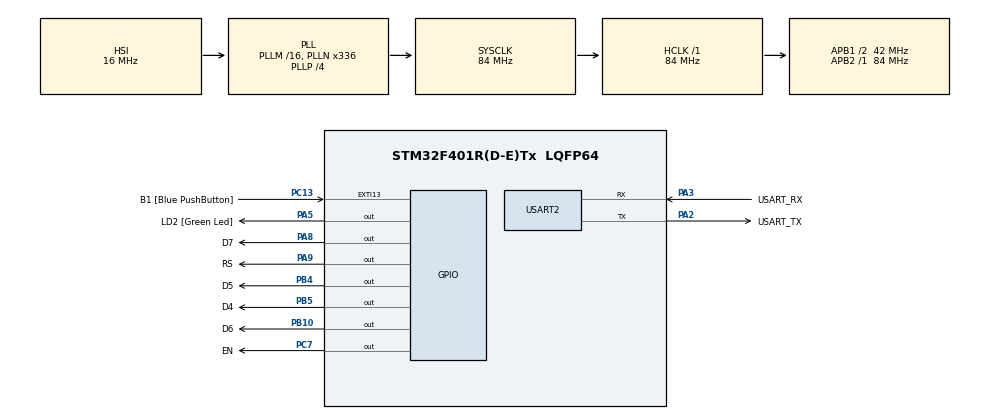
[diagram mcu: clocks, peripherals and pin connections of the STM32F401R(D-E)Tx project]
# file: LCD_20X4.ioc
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Mcu.Family=STM32F4
Mcu.Name=STM32F401R(D-E)Tx
Mcu.Package=LQFP64
NVIC.PriorityGroup=NVIC_PRIORITYGROUP_0
PA13.GPIO_Label=TMS
PA13.Mode=Serial_Wire
PA13.Signal=SYS_JTMS-SWDIO
PA14.GPIO_Label=TCK
PA14.Mode=Serial_Wire
PA14.Signal=SYS_JTCK-SWCLK
PA2.GPIO_Label=USART_TX
PA2.GPIO_Mode=GPIO_MODE_AF_PP
PA2.GPIO_PuPd=GPIO_NOPULL
PA2.GPIO_Speed=GPIO_SPEED_FREQ_LOW
PA2.Mode=Asynchronous
PA2.Signal=USART2_TX
PA3.GPIO_Label=USART_RX
PA3.GPIO_Mode=GPIO_MODE_AF_PP
PA3.GPIO_PuPd=GPIO_NOPULL
PA3.GPIO_Speed=GPIO_SPEED_FREQ_LOW
PA3.Mode=Asynchronous
PA3.Signal=USART2_RX
PA5.GPIO_Label=LD2 [Green Led]
PA5.GPIO_Mode=GPIO_MODE_OUTPUT_PP
PA5.GPIO_PuPd=GPIO_NOPULL
PA5.GPIO_Speed=GPIO_SPEED_FREQ_LOW
PA5.Signal=GPIO_Output
PA8.GPIO_Label=D7
PA8.Signal=GPIO_Output
PA9.GPIO_Label=RS
PA9.Signal=GPIO_Output
PB10.GPIO_Label=D6
PB10.Signal=GPIO_Output
PB3.GPIO_Label=SWO
PB3.Signal=SYS_JTDO-SWO
PB4.GPIO_Label=D5
PB4.Signal=GPIO_Output
PB5.GPIO_Label=D4
PB5.Signal=GPIO_Output
PC13-ANTI_TAMP.GPIO_Label=B1 [Blue PushButton]
PC13-ANTI_TAMP.GPIO_ModeDefaultEXTI=GPIO_MODE_IT_FALLING
PC13-ANTI_TAMP.GPIO_PuPd=GPIO_NOPULL
PC13-ANTI_TAMP.Signal=GPXTI13
PC14-OSC32_IN.Mode=LSE-External-Oscillator
PC14-OSC32_IN.Signal=RCC_OSC32_IN
PC15-OSC32_OUT.Mode=LSE-External-Oscillator
PC15-OSC32_OUT.Signal=RCC_OSC32_OUT
PC7.GPIO_Label=EN
PC7.Signal=GPIO_Output
PH0\ -\ OSC_IN.Mode=HSE-External-Clock-Source
PH0\ -\ OSC_IN.Signal=RCC_OSC_IN
PH1\ -\ OSC_OUT.Mode=HSE-External-Clock-Source
PH1\ -\ OSC_OUT.Signal=RCC_OSC_OUT
ProjectManager.HeapSize=0x200
ProjectManager.StackSize=0x400
ProjectManager.TargetToolchain=SW4STM32
RCC.48MHZClocksFreq_Value=48000000
RCC.AHBFreq_Value=84000000
RCC.APB1CLKDivider=RCC_HCLK_DIV2
RCC.APB1Freq_Value=42000000
RCC.APB1TimFreq_Value=84000000
RCC.APB2Freq_Value=84000000
RCC.APB2TimFreq_Value=84000000
RCC.CortexFreq_Value=84000000
RCC.HCLKFreq_Value=84000000
RCC.HSE_VALUE=8000000
RCC.HSI_VALUE=16000000
RCC.PLLN=336
RCC.PLLP=RCC_PLLP_DIV4
RCC.PLLQ=7
RCC.SYSCLKFreq_VALUE=84000000
RCC.SYSCLKSource=RCC_SYSCLKSOURCE_PLLCLK
RCC.VCOOutputFreq_Value=336000000
USART2.VirtualMode=VM_ASYNC
board=NUCLEO-F401RE

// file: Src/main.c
/* USER CODE BEGIN Header */
/**
  ******************************************************************************
  * @file           : main.c
  * @brief          : Main program body
  ******************************************************************************
  * @attention
  *
  * <h2><center>&copy; Copyright (c) 2020 STMicroelectronics.
  * All rights reserved.</center></h2>
  *
  * This software component is licensed by ST under BSD 3-Clause license,
  * the "License"; You may not use this file except in compliance with the
  * License. You may obtain a copy of the License at:
  *                        opensource.org/licenses/BSD-3-Clause
  *
  ******************************************************************************
  */
/* USER CODE END Header */
#include "main.h"
#include "lcd.h"
#include <math.h>

UART_HandleTypeDef huart2;

void SystemClock_Config(void);
static void MX_GPIO_Init(void);
static void MX_USART2_UART_Init(void);

int main(void)
{

  /* MCU Configuration--------------------------------------------------------*/

  /* Reset of all peripherals, Initializes the Flash interface and the Systick. */
  HAL_Init();

  /* Configure the system clock */
  SystemClock_Config();

  /* Initialize all configured peripherals */
  MX_GPIO_Init();
  MX_USART2_UART_Init();
  /* USER CODE BEGIN 2 */

  // Initialization

  GPIO_Port ports[] = {D4_GPIO_Port, D5_GPIO_Port, D6_GPIO_Port, D7_GPIO_Port};
  GPIO_Pin pins[] = {D4_Pin, D5_Pin, D6_Pin, D7_Pin};

  DisplayLCD lcd = lcd_generate(ports, pins, RS_GPIO_Port, RS_Pin, EN_GPIO_Port, EN_Pin);

  lcd_init(&lcd);

  // Writing a string

  lcd_write_data(&lcd,"Hello World!");

  HAL_Delay(5000);

  // Shifting cursor

  for(int i = 0; i < 3; i++) {
	  lcd_shift_cursor(&lcd,RIGHT);
	  HAL_Delay(1000);
  }

  HAL_Delay(2000);

  // Writing another string

  lcd_write_data(&lcd,":)");

  HAL_Delay(5000);

  // Reading the first character and then writing in another position

  char h = lcd_read_from_matrix (&lcd,(Coordinates) {0,0},SET_MODE);

  lcd_write_char(&lcd, (Coordinates) {3,3}, h);

  HAL_Delay(5000);

  // Returning the cursor to (0,0)

  lcd_return_home (&lcd);

  HAL_Delay(5000);

  // Clearing the display

  lcd_clear_display(&lcd);

  HAL_Delay(1000);

  // Writing special character, normal characters and a float

  lcd_write_char(&lcd, (Coordinates) {0,0}, LCD_PI);
  lcd_write_char(&lcd, (Coordinates) {1,0}, '=');
  lcd_pos_cursor(&lcd, (Coordinates) {2,0});
  lcd_write_float(&lcd, M_PI);

  HAL_Delay(5000);

  // Clearing the display

  lcd_clear_display(&lcd);

  HAL_Delay(1000);

  // Performing slow display shift

  lcd_pos_cursor(&lcd, (Coordinates) {1,1});

  HAL_Delay(1000);

  lcd_write_data(&lcd,"Slow shift display");

  HAL_Delay(5000);

  for(int i = 0; i < 20; i++) {
	  lcd_shift_display(&lcd, RIGHT);
	  HAL_Delay(500);
  }

  HAL_Delay(5000);

  // Clearing the display

  lcd_clear_display(&lcd);

  HAL_Delay(1000);

  // Performing fast display shift under the same conditions of the former shift

  lcd_pos_cursor(&lcd, (Coordinates) {1,1});

  HAL_Delay(1000);

  lcd_write_data(&lcd,"Fast shift display");

  HAL_Delay(5000);

  lcd_fast_shift(&lcd, RIGHT ,20, 500);

  // Clearing the display

  lcd_clear_display(&lcd);

  HAL_Delay(1000);

  // Setting the matrix before displaying it
  // Drawing a triangle

  lcd_set_to_matrix(&lcd,(Coordinates) {8,0}, SET_MODE, '*');
  lcd_set_to_matrix(&lcd,(Coordinates) {7,1}, SET_MODE, '*');
  lcd_set_to_matrix(&lcd,(Coordinates) {6,2}, SET_MODE, '*');
  lcd_set_to_matrix(&lcd,(Coordinates) {5,3}, SET_MODE, '*');
  lcd_set_to_matrix(&lcd,(Coordinates) {6,3}, SET_MODE, '*');
  lcd_set_to_matrix(&lcd,(Coordinates) {7,3}, SET_MODE, '*');
  lcd_set_to_matrix(&lcd,(Coordinates) {8,3}, SET_MODE, '*');
  lcd_set_to_matrix(&lcd,(Coordinates) {9,3}, SET_MODE, '*');
  lcd_set_to_matrix(&lcd,(Coordinates) {10,3}, SET_MODE, '*');
  lcd_set_to_matrix(&lcd,(Coordinates) {11,3}, SET_MODE, '*');
  lcd_set_to_matrix(&lcd,(Coordinates) {10,2}, SET_MODE, '*');
  lcd_set_to_matrix(&lcd,(Coordinates) {9,1}, SET_MODE, '*');

  // Displaying the triangle

  lcd_display_matrix(&lcd);

  HAL_Delay(5000);

  // Clearing the display

  lcd_clear_display(&lcd);

  // Writing a string

  lcd_write_data(&lcd,"Goodbye!");

  HAL_Delay(5000);

  // Clearing the display

  lcd_clear_display(&lcd);

  /* USER CODE END 2 */

  /* Infinite loop */
  while (1)
  {

  }
}

void SystemClock_Config(void)
{
  RCC_OscInitTypeDef RCC_OscInitStruct = {0};
  RCC_ClkInitTypeDef RCC_ClkInitStruct = {0};

  /** Configure the main internal regulator output voltage
  */
  __HAL_RCC_PWR_CLK_ENABLE();
  __HAL_PWR_VOLTAGESCALING_CONFIG(PWR_REGULATOR_VOLTAGE_SCALE2);
  /** Initializes the RCC Oscillators according to the specified parameters
  * in the RCC_OscInitTypeDef structure.
  */
  RCC_OscInitStruct.OscillatorType = RCC_OSCILLATORTYPE_HSI;
  RCC_OscInitStruct.HSIState = RCC_HSI_ON;
  RCC_OscInitStruct.HSICalibrationValue = RCC_HSICALIBRATION_DEFAULT;
  RCC_OscInitStruct.PLL.PLLState = RCC_PLL_ON;
  RCC_OscInitStruct.PLL.PLLSource = RCC_PLLSOURCE_HSI;
  RCC_OscInitStruct.PLL.PLLM = 16;
  RCC_OscInitStruct.PLL.PLLN = 336;
  RCC_OscInitStruct.PLL.PLLP = RCC_PLLP_DIV4;
  RCC_OscInitStruct.PLL.PLLQ = 7;
  if (HAL_RCC_OscConfig(&RCC_OscInitStruct) != HAL_OK)
  {
    Error_Handler();
  }
  /** Initializes the CPU, AHB and APB buses clocks
  */
  RCC_ClkInitStruct.ClockType = RCC_CLOCKTYPE_HCLK|RCC_CLOCKTYPE_SYSCLK
                              |RCC_CLOCKTYPE_PCLK1|RCC_CLOCKTYPE_PCLK2;
  RCC_ClkInitStruct.SYSCLKSource = RCC_SYSCLKSOURCE_PLLCLK;
  RCC_ClkInitStruct.AHBCLKDivider = RCC_SYSCLK_DIV1;
  RCC_ClkInitStruct.APB1CLKDivider = RCC_HCLK_DIV2;
  RCC_ClkInitStruct.APB2CLKDivider = RCC_HCLK_DIV1;

  if (HAL_RCC_ClockConfig(&RCC_ClkInitStruct, FLASH_LATENCY_2) != HAL_OK)
  {
    Error_Handler();
  }
}

static void MX_USART2_UART_Init(void)
{

  huart2.Instance = USART2;
  huart2.Init.BaudRate = 115200;
  huart2.Init.WordLength = UART_WORDLENGTH_8B;
  huart2.Init.StopBits = UART_STOPBITS_1;
  huart2.Init.Parity = UART_PARITY_NONE;
  huart2.Init.Mode = UART_MODE_TX_RX;
  huart2.Init.HwFlowCtl = UART_HWCONTROL_NONE;
  huart2.Init.OverSampling = UART_OVERSAMPLING_16;
  if (HAL_UART_Init(&huart2) != HAL_OK)
  {
    Error_Handler();
  }

}

static void MX_GPIO_Init(void)
{
  GPIO_InitTypeDef GPIO_InitStruct = {0};

  /* GPIO Ports Clock Enable */
  __HAL_RCC_GPIOC_CLK_ENABLE();
  __HAL_RCC_GPIOH_CLK_ENABLE();
  __HAL_RCC_GPIOA_CLK_ENABLE();
  __HAL_RCC_GPIOB_CLK_ENABLE();

  /*Configure GPIO pin Output Level */
  HAL_GPIO_WritePin(GPIOA, LD2_Pin|D7_Pin|RS_Pin, GPIO_PIN_RESET);

  /*Configure GPIO pin Output Level */
  HAL_GPIO_WritePin(GPIOB, D6_Pin|D5_Pin|D4_Pin, GPIO_PIN_RESET);

  /*Configure GPIO pin Output Level */
  HAL_GPIO_WritePin(EN_GPIO_Port, EN_Pin, GPIO_PIN_RESET);

  /*Configure GPIO pin : B1_Pin */
  GPIO_InitStruct.Pin = B1_Pin;
  GPIO_InitStruct.Mode = GPIO_MODE_IT_FALLING;
  GPIO_InitStruct.Pull = GPIO_NOPULL;
  HAL_GPIO_Init(B1_GPIO_Port, &GPIO_InitStruct);

  /*Configure GPIO pins : LD2_Pin D7_Pin RS_Pin */
  GPIO_InitStruct.Pin = LD2_Pin|D7_Pin|RS_Pin;
  GPIO_InitStruct.Mode = GPIO_MODE_OUTPUT_PP;
  GPIO_InitStruct.Pull = GPIO_NOPULL;
  GPIO_InitStruct.Speed = GPIO_SPEED_FREQ_LOW;
  HAL_GPIO_Init(GPIOA, &GPIO_InitStruct);

  /*Configure GPIO pins : D6_Pin D5_Pin D4_Pin */
  GPIO_InitStruct.Pin = D6_Pin|D5_Pin|D4_Pin;
  GPIO_InitStruct.Mode = GPIO_MODE_OUTPUT_PP;
  GPIO_InitStruct.Pull = GPIO_NOPULL;
  GPIO_InitStruct.Speed = GPIO_SPEED_FREQ_LOW;
  HAL_GPIO_Init(GPIOB, &GPIO_InitStruct);

  /*Configure GPIO pin : EN_Pin */
  GPIO_InitStruct.Pin = EN_Pin;
  GPIO_InitStruct.Mode = GPIO_MODE_OUTPUT_PP;
  GPIO_InitStruct.Pull = GPIO_NOPULL;
  GPIO_InitStruct.Speed = GPIO_SPEED_FREQ_LOW;
  HAL_GPIO_Init(EN_GPIO_Port, &GPIO_InitStruct);

}

void Error_Handler(void)
{
}

/************************ (C) COPYRIGHT STMicroelectronics *****END OF FILE****/
